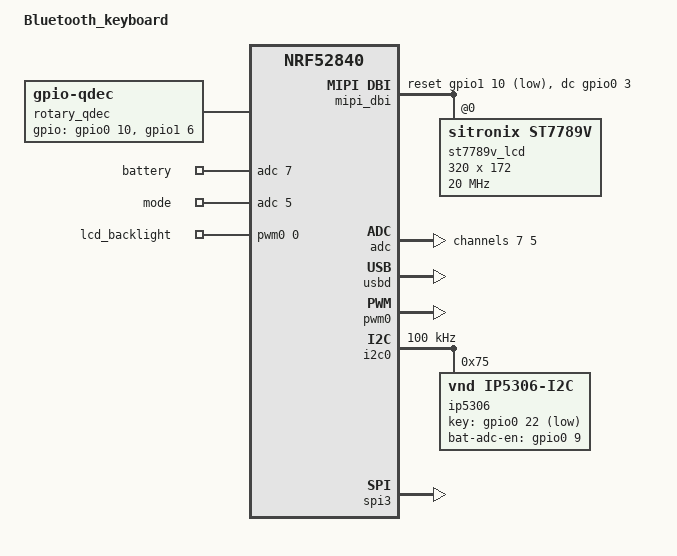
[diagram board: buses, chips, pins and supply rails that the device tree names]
/dts-v1/;
#include <nordic/nrf52840_qiaa.dtsi>
#include "Bluetooth_keyboard-pinctrl.dtsi"
#include <zephyr/dt-bindings/input/input-event-codes.h>
#include <zephyr/dt-bindings/adc/adc.h>
#include <zephyr/dt-bindings/mipi_dbi/mipi_dbi.h>
#include <zephyr/dt-bindings/pwm/pwm.h>

/ {
	model = "Bluetooth_keyboard";
	compatible = "cc,Bluetooth-keyboard";

	chosen {
		zephyr,sram = &sram0;
		zephyr,flash = &flash0;
		zephyr,code-partition = &slot0_partition;
		zephyr,display = &st7789v_lcd;
	};

	rotary_qdec: rotary-qdec {
		compatible = "gpio-qdec";
		gpios = <&gpio0 10 (GPIO_PULL_UP | GPIO_ACTIVE_HIGH)>,
			<&gpio1 6 (GPIO_PULL_UP | GPIO_ACTIVE_HIGH)>;
		steps-per-period = <2>;
		zephyr,axis = <INPUT_REL_WHEEL>;
		sample-time-us = <2000>;
		idle-poll-time-us = <2000>;
		idle-timeout-ms = <200>;
		status = "okay";
	};

	zephyr,user {
		io-channels = <&adc 7>, <&adc 5>;
		io-channel-names = "battery", "mode";
		pwms = <&pwm0 0 PWM_USEC(50) PWM_POLARITY_INVERTED>;
		pwm-names = "lcd_backlight";
	};

	mipi_dbi {
		compatible = "zephyr,mipi-dbi-spi";
		spi-dev = <&spi3>;
		dc-gpios = <&gpio0 3 GPIO_ACTIVE_HIGH>;
		reset-gpios = <&gpio1 10 GPIO_ACTIVE_LOW>;
		write-only;
		#address-cells = <1>;
		#size-cells = <0>;

		st7789v_lcd: st7789v@0 {
			compatible = "sitronix,st7789v";
			reg = <0>;
			mipi-max-frequency = <DT_FREQ_M(20)>;
			width = <320>;
			height = <172>;
			x-offset = <0>;
			y-offset = <34>;
			vcom = <0x2b>;
			gctrl = <0x35>;
			vrhs = <0x0f>;
			vdvs = <0x20>;
			mdac = <0xa0>;
			gamma = <0x01>;
			colmod = <0x55>;
			lcm = <0x2c>;
			porch-param = [0c 0c 00 33 33];
			cmd2en-param = [5a 69 02 01];
			pwctrl1-param = [52 a1];
			pvgam-param = [d0 00 02 07 0b 1a 31 54 40 29 12 12 12 17];
			nvgam-param = [d0 00 02 07 05 15 2d 44 44 1c 18 16 1c 1d];
			ram-param = [00 f8];
			rgb-param = [cd 08 14];
			ready-time-ms = <120>;
			mipi-mode = "MIPI_DBI_MODE_SPI_4WIRE";
		};
	};
};

&uicr {
	nfct-pins-as-gpios;
};

&flash0 {
	partitions {
		compatible = "fixed-partitions";
		#address-cells = <1>;
		#size-cells = <1>;

		boot_partition: partition@0 {
			label = "mcuboot";
			reg = <0x00000000 DT_SIZE_K(48)>;
		};

		slot0_partition: partition@c000 {
			label = "image-0";
			reg = <0x0000c000 DT_SIZE_K(472)>;
		};

		slot1_partition: partition@82000 {
			label = "image-1";
			reg = <0x00082000 DT_SIZE_K(472)>;
		};

		storage_partition: partition@f8000 {
			label = "storage";
			reg = <0x000f8000 DT_SIZE_K(32)>;
		};
	};
};

&gpiote {
	status = "okay";
};

&adc {
	#address-cells = <1>;
	#size-cells = <0>;
	status = "okay";

	channel@7 {
		reg = <7>;
		zephyr,gain = "ADC_GAIN_1_6";
		zephyr,reference = "ADC_REF_INTERNAL";
		zephyr,acquisition-time = <ADC_ACQ_TIME(ADC_ACQ_TIME_MICROSECONDS, 40)>;
		zephyr,input-positive = <NRF_SAADC_AIN7>;
		zephyr,resolution = <12>;
		zephyr,oversampling = <4>;
	};

	channel@5 {
		reg = <5>;
		zephyr,gain = "ADC_GAIN_1_6";
		zephyr,reference = "ADC_REF_INTERNAL";
		zephyr,acquisition-time = <ADC_ACQ_TIME(ADC_ACQ_TIME_MICROSECONDS, 40)>;
		zephyr,input-positive = <NRF_SAADC_AIN5>;
		zephyr,resolution = <12>;
		zephyr,oversampling = <4>;
	};
};

&gpio0 {
	status = "okay";
};

&gpio1 {
	status = "okay";
};

&usbd {
	status = "okay";
};

&pwm0 {
	status = "okay";
	pinctrl-0 = <&pwm0_default>;
	pinctrl-1 = <&pwm0_sleep>;
	pinctrl-names = "default", "sleep";
};

&i2c0 {
	compatible = "nordic,nrf-twim";
	status = "okay";
	clock-frequency = <I2C_BITRATE_STANDARD>;
	pinctrl-0 = <&i2c0_default>;
	pinctrl-1 = <&i2c0_sleep>;
	pinctrl-names = "default", "sleep";

	ip5306: ip5306@75 {
		compatible = "vnd,ip5306-i2c";
		reg = <0x75>;
		key-gpios = <&gpio0 22 GPIO_ACTIVE_LOW>;
		bat-adc-en-gpios = <&gpio0 9 GPIO_ACTIVE_HIGH>;
		status = "okay";
	};
};

&spi3 {
	status = "okay";
	pinctrl-0 = <&spi3_default>;
	pinctrl-1 = <&spi3_sleep>;
	pinctrl-names = "default", "sleep";
	cs-gpios = <&gpio0 2 GPIO_ACTIVE_LOW>;
};
